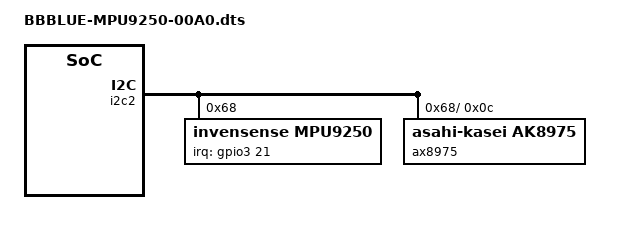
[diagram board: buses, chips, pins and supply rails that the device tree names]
// SPDX-License-Identifier: GPL-2.0-only
/*
 * Copyright (C) 2012,2019 Texas Instruments Incorporated - https://www.ti.com/
 */

/dts-v1/;
/plugin/;

#include <dt-bindings/interrupt-controller/irq.h>

/*
 * Helper to show loaded overlays under: /proc/device-tree/chosen/overlays/
 */
&{/chosen} {
	overlays {
		BBBLUE-MPU9250-00A0.bb.org-overlays = __TIMESTAMP__;
	};
};

/ {
	fragment@1 {
		target = <&i2c2>;
		__overlay__ {
			#address-cells = <1>;
			#size-cells = <0>;

			mpu9250@68 {
				compatible = "invensense,mpu9250";
				reg = <0x68>;
				interrupt-parent = <&gpio3>;
				interrupts = <21 IRQ_TYPE_LEVEL_HIGH>;
				i2c-gate {
					#address-cells = <1>;
					#size-cells = <0>;
					ax8975@c {
						compatible = "asahi-kasei,ak8975";
						reg = <0x0c>;
					};
				};
			};
		};
	};
};
